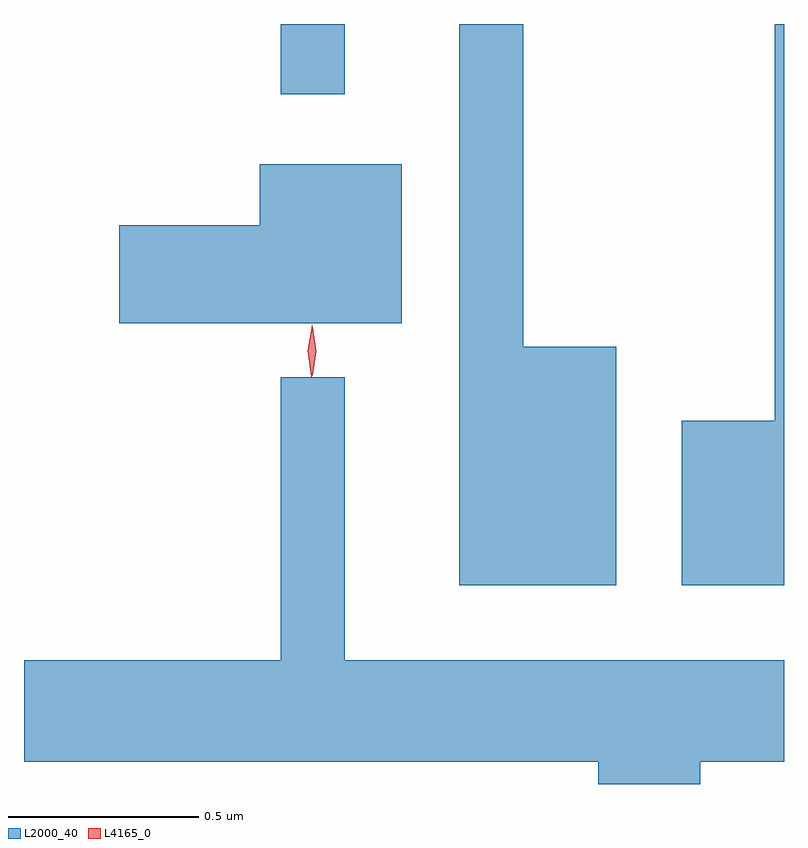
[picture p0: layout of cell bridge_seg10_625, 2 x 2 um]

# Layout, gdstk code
import gdstk
lib = gdstk.Library(unit=1e-6, precision=1e-09)
def R(c, l, rs):  # rectangles x0, y0, x1, y1
    for r in rs: c.add(gdstk.rectangle(r[:2], r[2:], *l))
def P(c, l, *ps):  # polygons
    for p in ps: c.add(gdstk.Polygon(p, *l))
L2000_40 = (2000, 40)
L4165_0 = (4165, 0)

bridge_seg10_625 = lib.new_cell('bridge_seg10_625')
R(bridge_seg10_625, L2000_40, [(773.681,2102.353,773.849,2102.538)])
P(bridge_seg10_625, L2000_40, [(775.005,2102.538),(774.981,2102.538),(774.981,2101.494),(774.736,2101.494),(774.736,2101.061),(775.005,2101.061)],
  [(774.564,2101.689),(774.319,2101.689),(774.319,2102.538),(774.151,2102.538),(774.151,2101.061),(774.564,2101.061)],
  [(773.999,2102.169),(773.626,2102.169),(773.626,2102.009),(773.256,2102.009),(773.256,2101.751),(773.999,2101.751)],
  [(774.784,2100.596),(775.005,2100.596),(775.005,2100.864),(773.849,2100.864),(773.849,2101.608),(773.681,2101.608),(773.681,2100.864),(773.005,2100.864),(773.005,2100.596),(774.516,2100.596),(774.516,2100.538),(774.784,2100.538)])
P(bridge_seg10_625, L4165_0, [(773.764,2101.613),(773.764,2101.614),(773.754,2101.677),(773.764,2101.74),(773.764,2101.74),(773.765,2101.74),(773.774,2101.677),(773.765,2101.614)],
  [(773.761,2101.61),(773.752,2101.678),(773.763,2101.746),(773.763,2101.746),(773.764,2101.746),(773.772,2101.678),(773.762,2101.61),(773.762,2101.61)])

lib.write_gds('bridge_seg10_625.gds')
